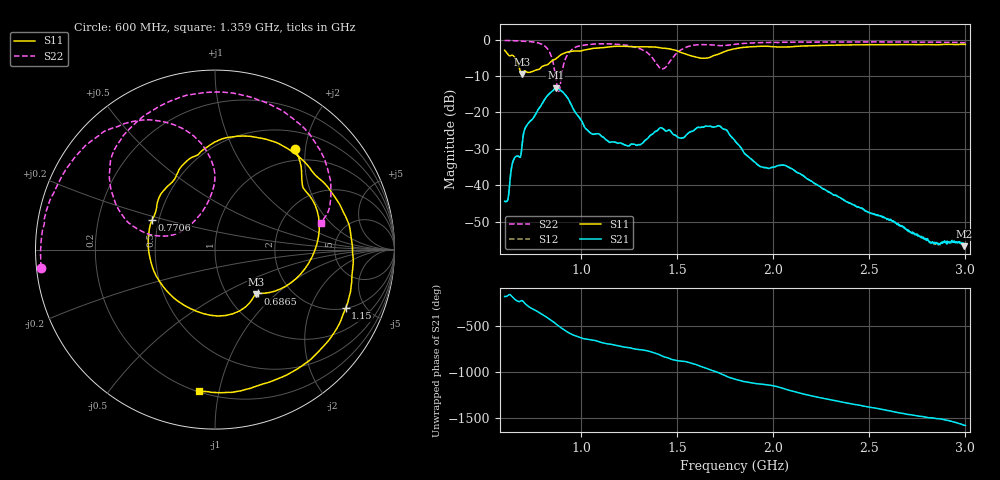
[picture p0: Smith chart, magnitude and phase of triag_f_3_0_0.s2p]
#  HZ  S  RI  R  50.00
! Rohde & Schwarz ZVB8 2Ports - Version 2.81 - 1145.1010k08 SN: 100113
! Date: 2016-05-03 01:37:22
! Measurements: S11 S21 S12 S22
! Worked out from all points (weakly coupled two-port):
!   1000 points, 600 MHz to 3 GHz, reference 50 ohm
!   highest |S21| = -13.25 dB at 866.7 MHz (marker M1); lowest = -56.8 dB at 2.995 GHz (marker M2)
!   lowest |S11| = -9.5 dB at 688.9 MHz (marker M3), VSWR 2.02, Z = 67.4 - j37.7 ohm
!   |S11| at or under -10 dB: nowhere
!   |S22| runs from -14.2 to -0.2 dB; largest |S21 - S12| = 0.0016
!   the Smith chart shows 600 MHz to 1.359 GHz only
!   S11 on the Smith chart (normalised r, x): 600 MHz: 0.79, +1.81; 686.5 MHz: 1.38, -0.76; 770.6 MHz: 0.46, +0.18; 1.15 GHz: 2.03, -3.62; 1.359 GHz: 0.20, -0.88
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6e8  0.4476 0.5586  -0.00595 -0.000823  -0.00596 -0.000799  -0.969 -0.1003
6.504505e8  0.5762 0.0696  -0.0223 0.00711  -0.0222 0.00695  -0.9555 0.1278
6.864865e8  0.2389 -0.2443  -0.0219 0.017  -0.0219 0.0169  -0.9132 0.2883
6.888889e8  0.2278 -0.248  -0.0254 0.0188  -0.0254 0.0186  -0.9079 0.2986
7.705706e8  -0.3503 0.1655  0.096 0.0426  0.0957 0.0436  -0.6456 0.6363
8.258258e8  -0.2215 0.3992  0.1135 -0.13  0.1138 -0.1296  -0.2287 0.6956
8.666667e8  -0.0863 0.5377  -0.08 -0.2023  -0.0792 -0.2022  -0.0265 0.2927
9.291291e8  0.2729 0.6176  -0.1437 0.0628  -0.1439 0.062  -0.5613 0.2784
1.001201e9  0.5825 0.3943  -0.00287 0.0766  -0.0034 0.0764  -0.4566 0.6921
1.15015e9  0.7283 -0.325  0.0349 0.0168  0.035 0.0168  0.1817 0.8543
1.359159e9  -0.0866 -0.7892  0.0266 -0.0406  0.0266 -0.0406  0.5879 0.1471
1.4e9  -0.2665 -0.7344  0.00587 -0.0578  0.00602 -0.0577  0.4255 0.0945
1.505706e9  -0.5492 -0.4173  -0.0416 -0.0174  -0.0412 -0.0179  0.6145 0.2993
1.604204e9  -0.5342 -0.1944  -0.0563 0.0259  -0.0562 0.0255  0.8416 -0.1118
1.801201e9  -0.7354 0.1504  0.0401 0.000174  0.0401 0.000414  0.5154 -0.6905
1.983784e9  -0.3785 0.7083  0.00747 -0.0155  0.0074 -0.0155  -0.0294 -0.9131
2.2e9  0.3972 0.7223  -0.0113 0.000443  -0.0112 0.000352  -0.6082 -0.6985
2.404204e9  0.8466 0.0345  -0.000207 0.00556  -0.000242 0.00556  -0.8885 -0.2692
2.601201e9  0.5034 -0.6892  0.00322 0.000937  0.00324 0.00097  -0.911 0.1796
2.783784e9  -0.1724 -0.8367  0.0011 -0.00144  0.00118 -0.00149  -0.7342 0.559
2.995195e9  -0.7583 -0.4057  -0.00117 -0.000851  -0.00122 -0.000962  -0.3469 0.8396
3e9  -0.7644 -0.3913  -0.00127 -0.00085  -0.00124 -0.000803  -0.334 0.8444
